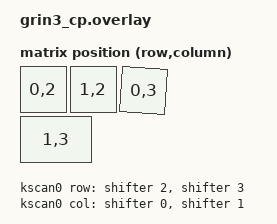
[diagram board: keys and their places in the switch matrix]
#include <dt-bindings/zmk/matrix_transform.h>
#include <physical_layouts.dtsi>
#include <dt-bindings/zmk/bt.h>


&pinctrl {
    spi0_default: spi0_default {
        group1 {
            psels = <NRF_PSEL(SPIM_SCK, 0, 4)>,
                <NRF_PSEL(SPIM_MOSI, 0, 5)>,
                <NRF_PSEL(SPIM_MISO, 1, 11)>;
        };
    };

    spi0_sleep: spi0_sleep {
        group1 {
            psels = <NRF_PSEL(SPIM_SCK, 0, 4)>,
                <NRF_PSEL(SPIM_MOSI, 0, 5)>,
                <NRF_PSEL(SPIM_MISO, 1, 11)>;
            low-power-enable;
        };
    };
};

&uart0 {
	status = "disabled";
};

&spi0 {
    status = "okay";
    cs-gpios =  <&xiao_d 1 GPIO_ACTIVE_LOW>;
        pinctrl-0 = <&spi0_default>;
    pinctrl-1 = <&spi0_sleep>;
    pinctrl-names = "default", "sleep";
    compatible = "nordic,nrf-spim";

    shifter: mcp23sxx@0 {
        status = "okay";
        compatible = "microchip,mcp23sxx";
        gpio-controller;
        spi-max-frequency = <200000>;
        reg = <0>;
        label = "MCP23S17";
        #gpio-cells = <2>;
        ngpios = <16>;
        int-gpios = <&xiao_d 3 GPIO_ACTIVE_LOW>;
    };
};



/ {
  chosen {
    zmk,physical-layout = &grin3_physical_layout;
  };

  grin3_physical_layout: grin3_physical_layout {
      compatible = "zmk,physical-layout";
      display-name = "Default";
      transform = <&default_transform>;
      kscan = <&kscan0>;

      keys  //                     w   h    x    y     rot    rx    ry
          = <&key_physical_attrs 100 100    0    0       0     0     0>
          , <&key_physical_attrs 100 100  100    0       0     0     0>
          , <&key_physical_attrs 100 100  201    2     375   251    52>
          , <&key_physical_attrs 150 100    0  100       0     0     0>
          ;
    };
  
    default_transform: keymap_transform_0 {
      compatible = "zmk,matrix-transform";
      columns = <2>;
      rows = <2>;

      map = <
        RC(0,2) RC(1,2)
        RC(0,3) RC(1,3)
        >;
    };
    
    kscan0: kscan_0 {
        compatible = "zmk,kscan-gpio-matrix";
        diode-direction = "col2row";
        col-gpios
            = <&shifter 0 (GPIO_ACTIVE_HIGH)>,
              <&shifter 1 (GPIO_ACTIVE_HIGH)>
            ;
        row-gpios
            = <&shifter 2 (GPIO_ACTIVE_HIGH)>,
              <&shifter 3 (GPIO_ACTIVE_HIGH)>
            ;
    };
};
